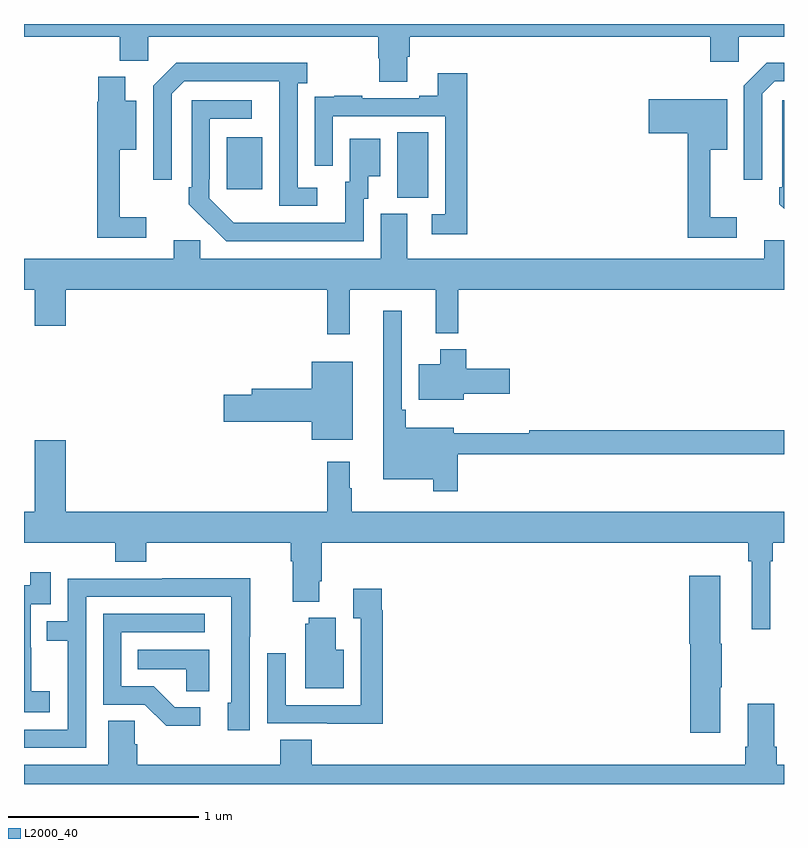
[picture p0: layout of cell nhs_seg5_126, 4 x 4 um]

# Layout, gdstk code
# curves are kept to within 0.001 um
import gdstk
lib = gdstk.Library(unit=1e-6, precision=1e-09)
def R(c, l, rs):  # rectangles x0, y0, x1, y1
    for r in rs: c.add(gdstk.rectangle(r[:2], r[2:], *l))
def P(c, l, *ps):  # polygons
    for p in ps: c.add(gdstk.Polygon(p, *l))
L2000_40 = (2000, 40)

nhs_seg5_126 = lib.new_cell('nhs_seg5_126')
R(nhs_seg5_126, L2000_40, [(118.964,883.885,119.128,884.228), (118.067,883.929,118.255,884.203)])
P(nhs_seg5_126, L2000_40, [(119.017,884.626),(119.03,884.626),(119.03,884.732),(120.611,884.732),(120.611,884.601),(120.762,884.601),(120.762,884.732),(121,884.732),(121,884.799),(117,884.799),(117,884.732),(117.503,884.732),(117.503,884.606),(117.654,884.606),(117.654,884.732),(118.865,884.732),(118.865,884.619),(118.87,884.619),(118.87,884.494),(119.017,884.494)],
  [(120.885,884.433),(120.951,884.499),(121,884.499),(121,884.596),(120.91,884.596),(120.789,884.475),(120.789,883.98),(120.885,883.98)],
  [(118.543,883.938),(118.44,883.938),(118.44,884.486),(118.492,884.486),(118.492,884.596),(117.802,884.596),(117.681,884.475),(117.681,883.98),(117.777,883.98),(117.777,884.433),(117.843,884.499),(118.343,884.499),(118.344,883.842),(118.543,883.842)],
  [(119.333,884.539),(119.177,884.539),(119.177,884.422),(119.081,884.422),(119.081,884.409),(118.781,884.409),(118.781,884.422),(118.633,884.422),(118.633,884.415),(118.531,884.415),(118.531,884.306),(118.53,884.306),(118.53,884.052),(118.626,884.052),(118.626,884.313),(119.217,884.313),(119.217,883.797),(119.145,883.797),(119.145,883.692),(119.333,883.692)],
  [(117.643,883.783),(117.503,883.783),(117.503,884.138),(117.592,884.138),(117.592,884.395),(117.532,884.395),(117.532,884.521),(117.392,884.521),(117.392,884.391),(117.385,884.391),(117.385,883.674),(117.643,883.674)],
  [(120.751,883.783),(120.611,883.783),(120.611,884.138),(120.7,884.138),(120.7,884.403),(120.288,884.403),(120.288,884.225),(120.493,884.225),(120.493,883.674),(120.751,883.674)],
  [(118.788,883.878),(118.813,883.878),(118.813,883.997),(118.876,883.997),(118.876,884.194),(118.715,884.194),(118.715,883.968),(118.691,883.968),(118.691,883.752),(118.104,883.753),(117.975,883.881),(117.975,883.981),(117.978,883.981),(117.978,884.301),(118.198,884.301),(118.198,884.397),(117.882,884.397),(117.882,883.939),(117.867,883.939),(117.867,883.851),(118.064,883.656),(118.788,883.656)],
  [(121,884.397),(120.99,884.397),(120.99,883.939),(120.975,883.939),(120.975,883.851),(121,883.826)],
  [(118.715,883.4),(119.168,883.4),(119.168,883.172),(119.285,883.172),(119.285,883.4),(121,883.4),(121,883.662),(120.896,883.662),(120.896,883.564),(119.017,883.564),(119.017,883.8),(118.877,883.8),(118.877,883.564),(117.927,883.564),(117.927,883.662),(117.788,883.662),(117.788,883.564),(117,883.564),(117,883.4),(117.056,883.4),(117.056,883.212),(117.22,883.212),(117.22,883.4),(118.597,883.4),(118.597,883.167),(118.715,883.167)],
  [(119.282,882.534),(121,882.534),(121,882.662),(119.659,882.662),(119.659,882.644),(119.263,882.644),(119.263,882.673),(119.009,882.673),(119.009,882.769),(118.989,882.769),(118.989,883.291),(118.892,883.291),(118.892,882.404),(119.154,882.404),(119.154,882.339),(119.282,882.339)],
  [(119.314,882.854),(119.557,882.854),(119.557,882.984),(119.327,882.984),(119.327,883.087),(119.192,883.087),(119.192,883.009),(119.078,883.009),(119.078,882.821),(119.314,882.821)],
  [(118.729,883.021),(118.514,883.021),(118.514,882.878),(118.199,882.878),(118.199,882.848),(118.05,882.848),(118.05,882.706),(118.514,882.706),(118.514,882.611),(118.729,882.611)],
  [(120.927,881.972),(120.941,881.972),(120.941,882.068),(121,882.068),(121,882.232),(118.726,882.232),(118.726,882.356),(118.714,882.356),(118.714,882.496),(118.597,882.496),(118.597,882.232),(117.22,882.232),(117.22,882.607),(117.056,882.607),(117.056,882.232),(117,882.232),(117,882.068),(117.479,882.068),(117.479,881.969),(117.644,881.969),(117.644,882.068),(118.403,882.068),(118.403,881.972),(118.415,881.972),(118.415,881.759),(118.555,881.759),(118.555,881.866),(118.568,881.866),(118.568,882.068),(120.811,882.068),(120.811,881.972),(120.83,881.972),(120.83,881.613),(120.927,881.613)],
  [(117.136,881.287),(117.038,881.287),(117.038,881.516),(117.036,881.516),(117.036,881.745),(117.141,881.745),(117.141,881.914),(117.033,881.914),(117.033,881.844),(117,881.844),(117,881.177),(117.136,881.177)],
  [(120.664,881.308),(120.672,881.308),(120.672,881.538),(120.664,881.538),(120.664,881.896),(120.5,881.896),(120.5,881.538),(120.506,881.538),(120.506,881.07),(120.664,881.07)],
  [(117.327,881.784),(118.092,881.784),(118.092,881.226),(118.073,881.226),(118.073,881.082),(118.188,881.082),(118.188,881.575),(118.191,881.575),(118.191,881.882),(117.727,881.882),(117.727,881.88),(117.231,881.88),(117.231,881.655),(117.121,881.655),(117.121,881.554),(117.231,881.554),(117.231,881.085),(117,881.085),(117,880.989),(117.327,880.989)],
  [(118.889,881.714),(118.882,881.714),(118.882,881.827),(118.733,881.827),(118.733,881.671),(118.773,881.671),(118.773,881.214),(118.377,881.214),(118.377,881.488),(118.281,881.488),(118.281,881.118),(118.597,881.118),(118.597,881.117),(118.889,881.117)],
  [(117.928,881.202),(117.793,881.202),(117.682,881.313),(117.513,881.313),(117.513,881.598),(117.952,881.598),(117.952,881.694),(117.417,881.694),(117.417,881.217),(117.636,881.217),(117.749,881.105),(117.928,881.105)],
  [(118.684,881.506),(118.642,881.506),(118.642,881.674),(118.499,881.674),(118.499,881.643),(118.481,881.643),(118.481,881.303),(118.684,881.303)],
  [(117.976,881.506),(117.598,881.506),(117.598,881.402),(117.855,881.402),(117.855,881.287),(117.976,881.287)],
  [(121,880.9),(120.962,880.9),(120.962,880.996),(120.949,880.996),(120.949,881.221),(120.809,881.221),(120.809,880.996),(120.797,880.996),(120.797,880.9),(118.514,880.9),(118.514,881.033),(118.349,881.033),(118.349,880.9),(117.596,880.9),(117.596,881.009),(117.582,881.009),(117.582,881.132),(117.443,881.132),(117.443,880.9),(117,880.9),(117,880.799),(121,880.799)])

lib.write_gds('nhs_seg5_126.gds')
